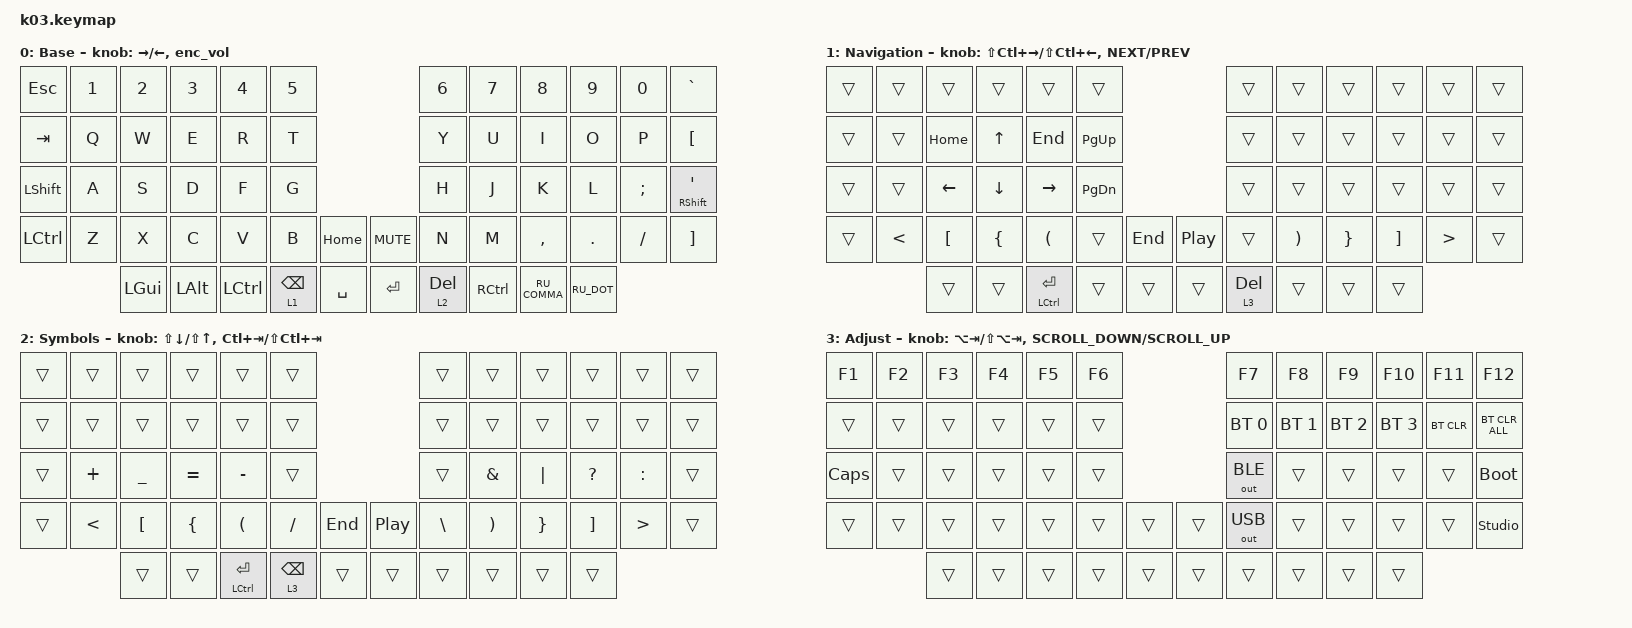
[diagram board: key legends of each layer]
#include "keys_ru.h"
#include <behaviors.dtsi>
#include <dt-bindings/zmk/bt.h>
#include <dt-bindings/zmk/keys.h>
#include <dt-bindings/zmk/outputs.h>

/ {
    behaviors {
        enc_vol: enc_vol {
            compatible = "zmk,behavior-sensor-rotate";
            label = "ENC_VOL";
            #sensor-binding-cells = <0>;
            bindings = <&kp C_VOL_UP>, <&kp C_VOL_DN>;
        };
    };

    keymap {
        compatible = "zmk,keymap";

        base {
            bindings = <
&kp ESC         &kp N1  &kp N2    &kp N3    &kp N4     &kp N5                                    &kp N6        &kp N7     &kp N8        &kp N9      &kp N0    &kp GRAVE
&kp TAB         &kp Q   &kp W     &kp E     &kp R      &kp T                                     &kp Y         &kp U      &kp I         &kp O       &kp P     &kp LEFT_BRACKET
&kp LEFT_SHIFT  &kp A   &kp S     &kp D     &kp F      &kp G                                     &kp H         &kp J      &kp K         &kp L       &kp SEMI  &mt RIGHT_SHIFT SQT
&kp LCTRL       &kp Z   &kp X     &kp C     &kp V      &kp B            &kp HOME     &kp C_MUTE  &kp N         &kp M      &kp COMMA     &kp DOT     &kp FSLH  &kp RIGHT_BRACKET
                        &kp LGUI  &kp LALT  &kp LCTRL  &lt 1 BACKSPACE  &kp SPACE    &kp ENTER   &lt 2 DELETE  &kp RCTRL  &kp RU_COMMA  &kp RU_DOT
            >;

            display-name = "Base";
            sensor-bindings = <&inc_dec_kp RIGHT_ARROW LEFT_ARROW>, <&enc_vol>;
        };

        nav {
            display-name = "Navigation";
            bindings = <
&trans  &trans         &trans          &trans          &trans                &trans                              &trans        &trans                 &trans           &trans    &trans            &trans
&trans  &trans         &kp HOME        &kp UP_ARROW    &kp END               &kp PAGE_UP                         &trans        &trans                 &trans           &trans    &trans            &trans
&trans  &trans         &kp LEFT_ARROW  &kp DOWN_ARROW  &kp RIGHT_ARROW       &kp PAGE_DOWN                       &trans        &trans                 &trans           &trans    &trans            &trans
&trans  &kp LESS_THAN  &kp LBKT        &kp LEFT_BRACE  &kp LEFT_PARENTHESIS  &trans         &kp END    &kp C_PP  &trans        &kp RIGHT_PARENTHESIS  &kp RIGHT_BRACE  &kp RBKT  &kp GREATER_THAN  &trans
                       &trans          &trans          &mt LCTRL ENTER       &trans         &trans     &trans    &lt 3 DELETE  &trans                 &trans           &trans
            >;

            sensor-bindings =
                <&inc_dec_kp LS(LC(RIGHT_ARROW)) LS(LC(LEFT_ARROW))>,
                <&inc_dec_kp C_NEXT C_PREV>;
        };

        sym {
            display-name = "Symbols";
            bindings = <
&trans  &trans         &trans          &trans          &trans                &trans                                &trans    &trans                 &trans           &trans        &trans            &trans
&trans  &trans         &trans          &trans          &trans                &trans                                &trans    &trans                 &trans           &trans        &trans            &trans
&trans  &kp PLUS       &kp UNDERSCORE  &kp EQUAL       &kp MINUS             &trans                                &trans    &kp AMPS               &kp PIPE         &kp QUESTION  &kp COLON         &trans
&trans  &kp LESS_THAN  &kp LBKT        &kp LEFT_BRACE  &kp LEFT_PARENTHESIS  &kp FSLH         &kp END    &kp C_PP  &kp BSLH  &kp RIGHT_PARENTHESIS  &kp RIGHT_BRACE  &kp RBKT      &kp GREATER_THAN  &trans
                       &trans          &trans          &mt LCTRL ENTER       &lt 3 BACKSPACE  &trans     &trans    &trans    &trans                 &trans           &trans
            >;

            sensor-bindings =
                <&inc_dec_kp LS(DOWN_ARROW) LS(UP_ARROW)>,
                <&inc_dec_kp LC(TAB) LS(LC(TAB))>;
        };

        adj {
            bindings = <
&kp F1    &kp F2  &kp F3  &kp F4  &kp F5  &kp F6                    &kp F7        &kp F8        &kp F9        &kp F10       &kp F11     &kp F12
&trans    &trans  &trans  &trans  &trans  &trans                    &bt BT_SEL 0  &bt BT_SEL 1  &bt BT_SEL 2  &bt BT_SEL 3  &bt BT_CLR  &bt BT_CLR_ALL
&kp CAPS  &trans  &trans  &trans  &trans  &trans                    &out OUT_BLE  &trans        &trans        &trans        &trans      &bootloader
&trans    &trans  &trans  &trans  &trans  &trans  &trans    &trans  &out OUT_USB  &trans        &trans        &trans        &trans      &studio_unlock
                  &trans  &trans  &trans  &trans  &trans    &trans  &trans        &trans        &trans        &trans
            >;

            display-name = "Adjust";
            sensor-bindings =
                <&inc_dec_kp LA(TAB) LS(LA(TAB))>,
                <&inc_dec_kp K_SCROLL_DOWN K_SCROLL_UP>;
        };
    };
};
